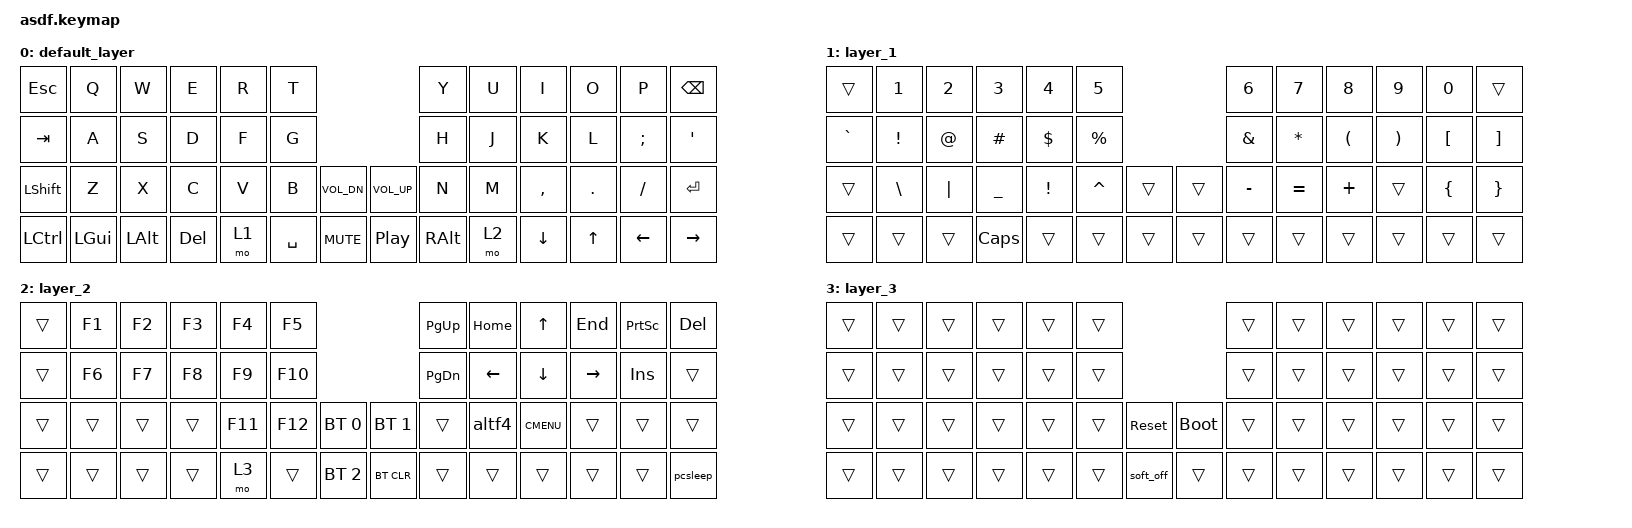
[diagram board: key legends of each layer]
#include <behaviors.dtsi>
#include <dt-bindings/zmk/keys.h>
#include <dt-bindings/zmk/bt.h>
#include <dt-bindings/zmk/outputs.h>


//&soft_off {
//    hold-time-ms = <1000>; // Only turn off it the key is held for 5 seconds or longer.
//};

/ {

    macros {
        altf4: altf4 {
            compatible = "zmk,behavior-macro";
            #binding-cells = <0>;
            bindings
                = <&macro_press &kp LALT>
                , <&macro_tap &kp F4>
                , <&macro_release &kp LALT>;
        };

        pcsleep: pcsleep {
            compatible = "zmk,behavior-macro";
            #binding-cells = <0>;
            bindings
                = <&macro_press &kp LGUI>
                , <&macro_tap &kp X>
                , <&macro_release &kp LGUI>
                , <&macro_wait_time 1500>
                , <&macro_tap &kp U>
                , <&macro_wait_time 1500>
                , <&macro_tap &kp S>;
                
        
        
        };
    };
    

    keymap {
        compatible = "zmk,keymap";

        default_layer {
            bindings = <  
                &kp ESC     &kp Q      &kp W      &kp E      &kp R      &kp T                                            &kp Y      &kp U       &kp I        &kp O       &kp P       &kp BSPC 
                &kp TAB     &kp A      &kp S      &kp D      &kp F      &kp G                                            &kp H      &kp J       &kp K        &kp L       &kp SEMI    &kp SQT  
                &kp LSHIFT  &kp Z      &kp X      &kp C      &kp V      &kp B            &kp C_VOL_DN   &kp C_VOL_UP     &kp N      &kp M       &kp COMMA    &kp DOT     &kp FSLH    &kp ENTER
                &kp LCTRL   &kp LGUI   &kp LALT   &kp DEL    &mo 1      &kp SPACE        &kp C_MUTE     &kp C_PP         &kp RALT   &mo 2       &kp DOWN     &kp UP      &kp LEFT    &kp RIGHT
            >;           
        };       
        
        
        layer_1 {           
            bindings = <                        
                &trans      &kp N1     &kp N2     &kp N3     &kp N4     &kp N5                                           &kp N6     &kp N7      &kp N8       &kp N9      &kp N0      &trans
                &kp GRAVE   &kp EXCL   &kp AT     &kp HASH   &kp DLLR   &kp PRCNT                                        &kp AMPS   &kp ASTRK   &kp LPAR     &kp RPAR    &kp LBKT    &kp RBKT
                &trans      &kp BSLH   &kp PIPE   &kp UNDER  &kp EXCL   &kp CARET       &trans           &trans          &kp MINUS  &kp EQUAL   &kp PLUS     &trans      &kp LBRC    &kp RBRC
                &trans      &trans     &trans     &kp CAPS   &trans     &trans          &trans           &trans          &trans     &trans      &trans       &trans      &trans      &trans
            >;                                        
        };                      
                 

        layer_2 {                      
            bindings = <                              
                &trans      &kp F1     &kp F2     &kp F3     &kp F4     &kp F5                                           &kp PG_UP  &kp HOME    &kp UP       &kp END     &kp PSCRN   &kp DEL
                &trans      &kp F6     &kp F7     &kp F8     &kp F9     &kp F10                                          &kp PG_DN  &kp LEFT    &kp DOWN     &kp RIGHT   &kp INS     &trans
                &trans      &trans     &trans     &trans     &kp F11    &kp F12         &bt BT_SEL 0     &bt BT_SEL 1    &trans     &altf4      &kp K_CMENU  &trans      &trans      &trans
                &trans      &trans     &trans     &trans     &mo 3      &trans          &bt BT_SEL 2     &bt BT_CLR      &trans     &trans      &trans       &trans      &trans      &pcsleep
            >;     
        };

        layer_3 {                      
            bindings = <                              
                &trans      &trans     &trans     &trans     &trans     &trans                                           &trans     &trans      &trans       &trans      &trans      &trans      
                &trans      &trans     &trans     &trans     &trans     &trans                                           &trans     &trans      &trans       &trans      &trans      &trans      
                &trans      &trans     &trans     &trans     &trans     &trans          &sys_reset      &bootloader      &trans     &trans      &trans       &trans      &trans      &trans      
                &trans      &trans     &trans     &trans     &trans     &trans          &soft_off       &trans           &trans     &trans      &trans       &trans      &trans      &trans
            >;     
        };
    };
};
